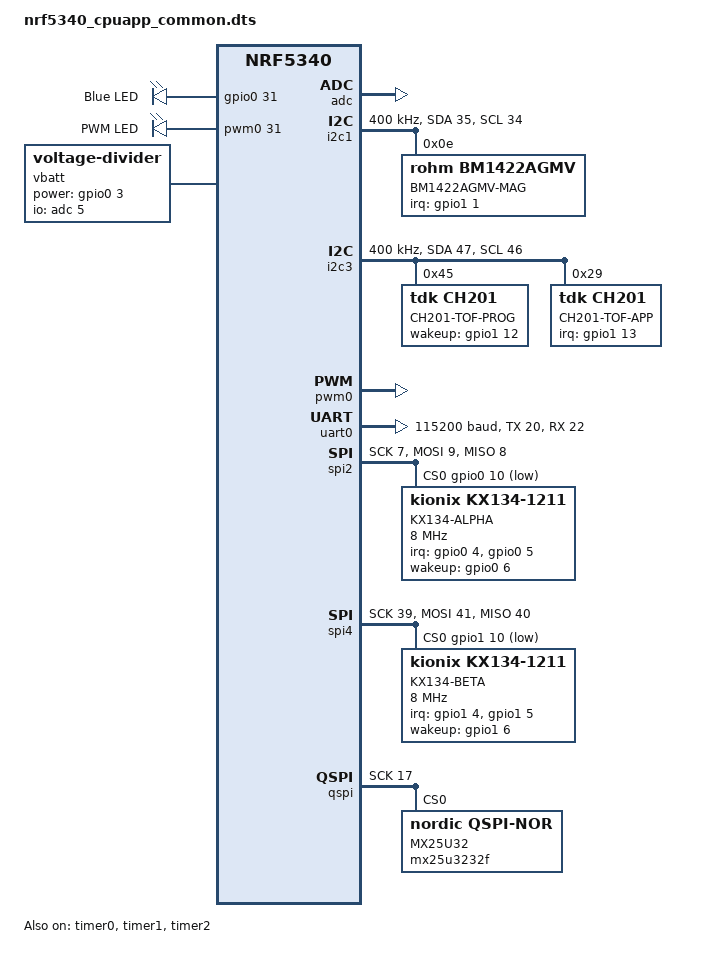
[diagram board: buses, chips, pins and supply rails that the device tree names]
/*
 * Copyright (c) 2021 Griffin Adams
 *
 * SPDX-License-Identifier: Apache-2.0
 */

/ {
	chosen {
		zephyr,console = &uart0;
		zephyr,bt-mon-uart = &uart0;
		zephyr,bt-c2h-uart = &uart0;
		nordic,pm-ext-flash = &mx25u32;
	};

	leds {
		compatible = "gpio-leds";
		led0: led_0 {
			gpios = <&gpio0 31 GPIO_PULL_DOWN>;
			label = "Blue LED";
		};
	};
	
	pwmdevs {
		compatible = "pwm-leds";
		my_pwm: pwm_device_0 {
			pwms = < &pwm0 31 >;
			label = "PWM LED";
		};
	};

	// gpio_fwd: nrf-gpio-forwarder {
	// 	compatible = "nordic,nrf-gpio-forwarder";
	// 	status = "okay";
	// 	uart {
	// 		gpios = <&gpio0 20 0>, <&gpio0 22 0>, <&gpio0 19 0>, <&gpio0 21 0>;
	// 	};
	// };
	
	/* These aliases are provided for compatibility with samples */
	aliases {
		led0 = &led0;
		pwm-led0 = &my_pwm;
	};
	
	vbatt {
		compatible = "voltage-divider";
		io-channels = <&adc 5>;
		output-ohms = <100000>;
		full-ohms = <(100000 + 140000)>;
		power-gpios = <&gpio0 3 GPIO_PULL_DOWN>;
	};
};

&adc {
	status = "okay";
};

&gpiote {
	status = "okay";
};

&gpio0 {
	status = "okay";
};

&gpio1 {
	status = "okay";
};

&i2c1 {
	compatible = "nordic,nrf-twim";
	status = "okay";
	
	clock-frequency = <400000>;
	sda-pin = <35>;
	scl-pin = <34>;
	
	bm1422agmv@e {
		compatible = "rohm,bm1422agmv";
		reg = <0x0e>;
		irq-gpios = <&gpio1 1 GPIO_ACTIVE_HIGH>;
		label = "BM1422AGMV-MAG";
	};
};

&i2c3 {
	compatible = "nordic,nrf-twim";
	status = "okay";
	
	clock-frequency = <400000>;
	sda-pin = <47>;
	scl-pin = <46>;
	
	ch201-prog@45 {
		compatible = "tdk,ch201";
		reg = <0x45>;
		wakeup-gpios = <&gpio1 12 GPIO_ACTIVE_HIGH>;
		label = "CH201-TOF-PROG";
	};
	
	ch201-app@29 {
		compatible = "tdk,ch201";
		reg = <0x29>;
		irq-gpios = <&gpio1 13 GPIO_ACTIVE_HIGH>;
		label = "CH201-TOF-APP";
	};
};

&pwm0 {
	status = "okay";
	ch0-pin = <31>;
};

&uart0 {
	compatible = "nordic,nrf-uarte";
	status = "okay";
	current-speed = <115200>;
	tx-pin = <20>;
	rx-pin = <22>;
	rx-pull-up;
	rts-pin = <19>;
	cts-pin = <21>;
	cts-pull-up;
};

&uart1 {
	status = "disabled";
};

&uart2 {
	status = "disabled";
};

&spi2 {
	compatible = "nordic,nrf-spim";
	status = "okay";
	sck-pin = <7>;
	miso-pin = <8>;
	mosi-pin = <9>;
	cs-gpios = <&gpio0 10 GPIO_ACTIVE_LOW>;
	miso-pull-down;
	
	kx134alpha: kx134-1211@0 {
		compatible = "kionix,kx134-1211";
		reg = <0>;
		spi-max-frequency = <8000000>;
		irq-gpios = <&gpio0 4 GPIO_ACTIVE_HIGH>,
		 			<&gpio0 5 GPIO_ACTIVE_HIGH>;
		wakeup-gpios = <&gpio0 6 GPIO_PULL_DOWN>;
		label = "KX134-ALPHA";
	};
};

&spi4 {
	compatible = "nordic,nrf-spim";
	status = "okay";
	sck-pin = <39>;
	miso-pin = <40>;
	mosi-pin = <41>;
	cs-gpios = <&gpio1 10 GPIO_ACTIVE_LOW>;
	miso-pull-down;
	
	kx134beta: kx134-1211@0 {
		compatible = "kionix,kx134-1211";
		reg = <0>;
		spi-max-frequency = <8000000>;
		irq-gpios = <&gpio1 4 GPIO_ACTIVE_HIGH>,
					<&gpio1 5 GPIO_ACTIVE_HIGH>;
		wakeup-gpios = <&gpio1 6 GPIO_PULL_DOWN>;
		label = "KX134-BETA";
	};
};

&qspi {
	status = "okay";
	sck-pin = <17>;
	io-pins = <13>, <14>, <15>, <16>;
	csn-pins = <18>;
	mx25u32: mx25u3232f@0 {
		compatible = "nordic,qspi-nor";
		reg = <0>;
		/* MX25U32 supports all writeoc options */
		writeoc = "pp4io";
		/* MX25U32 supports all readoc options */
		readoc = "read4io";
		quad-enable-requirements = "S1B6";
		sck-frequency = <96000000>;
		label = "MX25U32";
		jedec-id = [c2 25 36];
		size = <33554432>;
		has-dpd;
		t-enter-dpd = <10000>;
		t-exit-dpd = <30000>;
	};
};

&timer0 {
	status = "okay";
};

&timer1 {
	status = "okay";
};

&timer2 {
	status = "okay";
};

&flash0 {
	partitions {
		compatible = "fixed-partitions";
		#address-cells = <1>;
		#size-cells = <1>;

		boot_partition: partition@0 {
			label = "mcuboot";
			reg = <0x00000000 0x00010000>;
		};
		slot0_partition: partition@10000 {
			label = "image-0";
		};
		slot0_ns_partition: partition@50000 {
			label = "image-0-nonsecure";
		};
		slot1_partition: partition@80000 {
			label = "image-1";
		};
		slot1_ns_partition: partition@c0000 {
			label = "image-1-nonsecure";
		};
		scratch_partition: partition@f0000 {
			label = "image-scratch";
			reg = <0x000f0000 0xa000>;
		};
		storage_partition: partition@fa000 {
			label = "storage";
			reg = <0x000fa000 0x00006000>;
		};
	};
};

/ {

	reserved-memory {
		#address-cells = <1>;
		#size-cells = <1>;
		ranges;

		sram0_image: image@20000000 {
			/* Zephyr image(s) memory */
		};

		sram0_s: image_s@20000000 {
			/* Secure image memory */
		};

		sram0_ns: image_ns@20040000 {
			/* Non-Secure image memory */
		};
	};
};

/* Include partition configuration file */
#include "nrf5340_cpuapp_partition_conf.dts"
